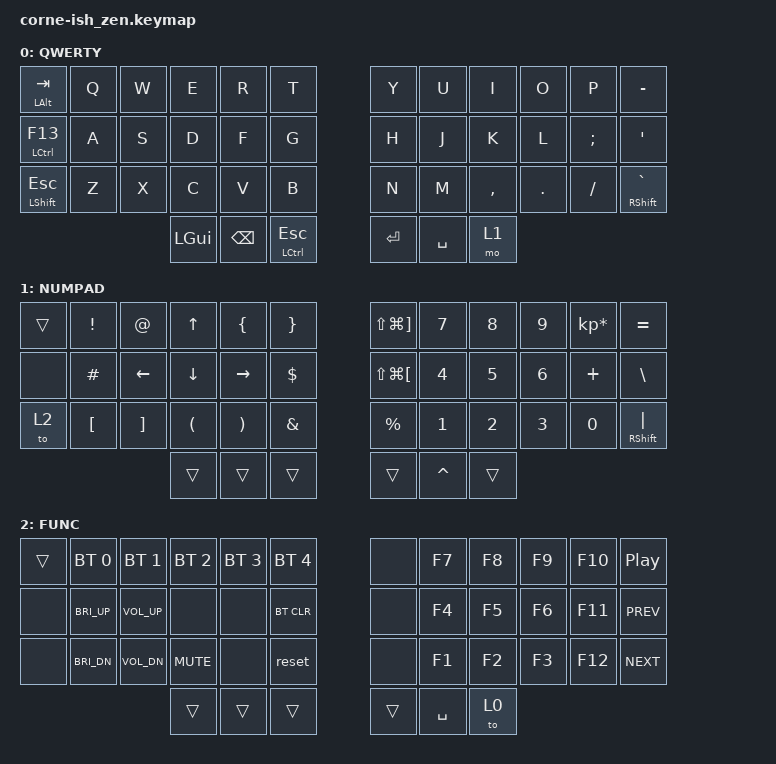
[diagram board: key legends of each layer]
/*
*
* Copyright (c) 2021 Darryl deHaan
* SPDX-License-Identifier: MIT
*
*/

#include <behaviors.dtsi>
#include <dt-bindings/zmk/keys.h>
#include <dt-bindings/zmk/bt.h>

/ {
  chosen {
    zmk,matrix_transform = &default_transform;
    //zmk,matrix_transform = &five_column_transform;
  };
};

/ {
        keymap {
                compatible = "zmk,keymap";

                default_layer {
                        label = "QWERTY";
// -----------------------------------------------------------------------------------------
// |  ALT  |  Q  |  W  |  E  |  R  |   T   |  |  Y  |  U   |  I  |  O  |  P  |   -   |
// |  CTRL |  A  |  S  |  D  |  F  |   G   |  |  H  |  J   |  K  |  L  |  ;  |   '   |
// | S/ESC |  Z  |  X  |  C  |  V  |   B   |  |  N  |  M   |  ,  |  .  |  /  | SHFT` |
//                     | GUI | BSP | C/ESC |  | ENT | SPC  | LWR |
                        bindings = <
   &mt LALT TAB  &kp Q &kp W &kp E &kp R &kp T   &kp Y &kp U  &kp I     &kp O   &kp P    &kp MINUS
   &mt LCTRL F13 &kp A &kp S &kp D &kp F &kp G   &kp H &kp J  &kp K     &kp L   &kp SEMI &kp SQT
   &mt LSHFT ESC &kp Z &kp X &kp C &kp V &kp B   &kp N &kp M  &kp COMMA &kp DOT &kp FSLH &mt RSHFT GRAVE
                 &kp LGUI &kp BSPC &mt LCTRL ESC   &kp RET &kp SPACE &mo 1
                        >;
                };
                second_layer {
                        label = "NUMPAD";
// -----------------------------------------------------------------------------------------
// |  tr  |  !  |  @  |  UP |  {   |   }   |  | NXT |  7  |  8  |  9  |  *  |   =   |
// |      |  #  | LFT | DWN | RGT  |   $   |  | PRV |  4  |  5  |  6  |  +  |   \   |
// | to 2 |  [  |  ]  |  (  |  )   |   &   |  |  %  |  1  |  2  |  3  |  0  | SHFT| |
//                    | tr  |  tr  |  tr   |  | tr  |  ^  |  tr |
                        bindings = <
   &trans &kp EXCL &kp AT   &kp UP   &kp LBRC  &kp RBRC   &kp LS(LG(RBKT)) &kp N7 &kp N8 &kp N9 &kp KP_MULTIPLY &kp EQUAL
   &none  &kp HASH &kp LEFT &kp DOWN &kp RIGHT &kp DLLR   &kp LS(LG(LBKT)) &kp N4 &kp N5 &kp N6 &kp PLUS        &kp BSLH
   &to 2  &kp LBKT &kp RBKT &kp LPAR &kp RPAR  &kp AMPS   &kp PRCNT        &kp N1 &kp N2 &kp N3 &kp N0          &mt RSHFT PIPE
                            &trans &trans &trans   &trans &kp CARET &trans
                        >;
                };
                third_layer {
                        label = "FUNC";
// -----------------------------------------------------------------------------------------
// |   | BT1  | BT2 | BT3 | BT4 |  BT5  |  |    |  F7  |  F8  | F9 | F10 | PL/P |
// |   | BRUP | VUP |     |     | BTCLR |  |    |  F4  |  F5  | F6 | F11 | PREV |
// |   | BRDN | VDN | MUT |     | RESET |  |    |  F1  |  F2  | F3 | F12 | NEXT |
//                  | tr  | tr  |  tr   |  | tr |  SPC | to 0 |
                        bindings = <
   &trans &bt BT_SEL 0 &bt BT_SEL 1 &bt BT_SEL 2 &bt BT_SEL 3 &bt BT_SEL 4   &none &kp F7 &kp F8 &kp F9 &kp F10 &kp C_PP
   &none  &kp C_BRI_UP &kp C_VOL_UP &none        &none        &bt BT_CLR     &none &kp F4 &kp F5 &kp F6 &kp F11 &kp C_PREV
   &none  &kp C_BRI_DN &kp C_VOL_DN &kp C_MUTE   &none        &reset         &none &kp F1 &kp F2 &kp F3 &kp F12 &kp C_NEXT
                                    &trans &trans &trans   &trans &kp SPACE &to 0
                        >;
                };
        };
};
